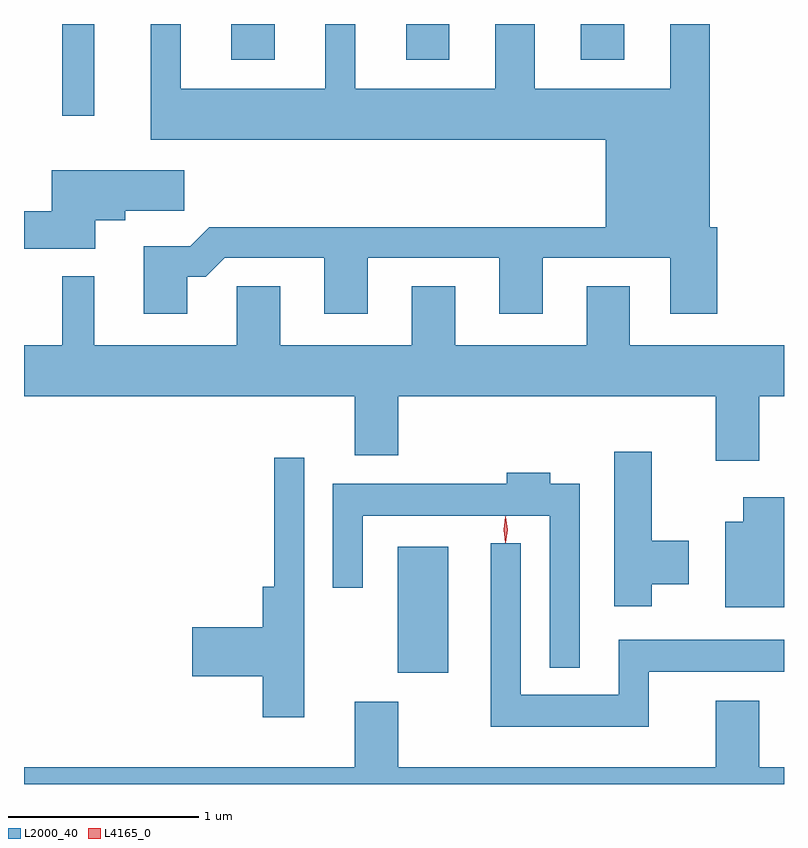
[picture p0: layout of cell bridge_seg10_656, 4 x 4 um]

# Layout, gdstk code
import gdstk
lib = gdstk.Library(unit=1e-6, precision=1e-09)
def R(c, l, rs):  # rectangles x0, y0, x1, y1
    for r in rs: c.add(gdstk.rectangle(r[:2], r[2:], *l))
def A(c, l, x, y, w, h, nx, ny, dx, dy):  # array of equal rectangles
    R(c, l, [(x+i*dx, y+j*dy, x+i*dx+w, y+j*dy+h) for i in range(nx) for j in range(ny)])
def P(c, l, *ps):  # polygons
    for p in ps: c.add(gdstk.Polygon(p, *l))
L2000_40 = (2000, 40)
L4165_0 = (4165, 0)

bridge_seg10_656 = lib.new_cell('bridge_seg10_656')
A(bridge_seg10_656, L2000_40, 900.001, 2144.546, 0.228, 0.189, 3, 1, 0.92, 0)
R(bridge_seg10_656, L2000_40, [(900.876,2141.321,901.144,2141.984), (899.111,2144.253,899.279,2144.735)])
P(bridge_seg10_656, L2000_40, [(899.769,2143.406),(899.867,2143.406),(899.967,2143.506),(900.491,2143.506),(900.491,2143.211),(900.719,2143.211),(900.719,2143.506),(901.411,2143.506),(901.411,2143.211),(901.639,2143.211),(901.639,2143.506),(902.311,2143.506),(902.311,2143.211),(902.559,2143.211),(902.559,2143.664),(902.519,2143.664),(902.519,2144.735),(902.311,2144.735),(902.311,2144.394),(901.599,2144.394),(901.599,2144.735),(901.391,2144.735),(901.391,2144.394),(900.654,2144.394),(900.654,2144.735),(900.496,2144.735),(900.496,2144.394),(899.734,2144.394),(899.734,2144.735),(899.576,2144.735),(899.576,2144.126),(901.971,2144.126),(901.971,2143.664),(899.884,2143.664),(899.784,2143.564),(899.541,2143.564),(899.541,2143.211),(899.769,2143.211)],
  [(899.284,2143.701),(899.444,2143.701),(899.444,2143.751),(899.754,2143.751),(899.754,2143.964),(899.056,2143.964),(899.056,2143.749),(898.91,2143.749),(898.91,2143.551),(899.284,2143.551)],
  [(902.779,2142.776),(902.91,2142.776),(902.91,2143.044),(902.099,2143.044),(902.099,2143.354),(901.871,2143.354),(901.871,2143.044),(901.179,2143.044),(901.179,2143.354),(900.951,2143.354),(900.951,2143.044),(900.259,2143.044),(900.259,2143.354),(900.031,2143.354),(900.031,2143.044),(899.279,2143.044),(899.279,2143.408),(899.111,2143.408),(899.111,2143.044),(898.91,2143.044),(898.91,2142.776),(900.651,2142.776),(900.651,2142.466),(900.879,2142.466),(900.879,2142.776),(902.551,2142.776),(902.551,2142.436),(902.779,2142.436)],
  [(902.214,2141.786),(902.409,2141.786),(902.409,2142.014),(902.214,2142.014),(902.214,2142.484),(902.016,2142.484),(902.016,2141.671),(902.214,2141.671)],
  [(900.384,2142.453),(900.226,2142.453),(900.226,2141.774),(900.166,2141.774),(900.166,2141.559),(899.796,2141.559),(899.796,2141.301),(900.166,2141.301),(900.166,2141.086),(900.384,2141.086)],
  [(901.834,2142.314),(901.679,2142.314),(901.679,2142.374),(901.451,2142.374),(901.451,2142.314),(900.536,2142.314),(900.536,2141.768),(900.694,2141.768),(900.694,2142.146),(901.676,2142.146),(901.676,2141.348),(901.834,2141.348)],
  [(902.91,2142.244),(902.696,2142.244),(902.696,2142.114),(902.601,2142.114),(902.601,2141.666),(902.91,2141.666)],
  [(902.199,2141.326),(902.91,2141.326),(902.91,2141.494),(902.041,2141.494),(902.041,2141.204),(901.524,2141.204),(901.524,2142.003),(901.366,2142.003),(901.366,2141.036),(902.199,2141.036)],
  [(902.91,2140.824),(902.779,2140.824),(902.779,2141.174),(902.551,2141.174),(902.551,2140.824),(900.879,2140.824),(900.879,2141.169),(900.651,2141.169),(900.651,2140.824),(898.91,2140.824),(898.91,2140.735),(902.91,2140.735)])
P(bridge_seg10_656, L4165_0, [(901.445,2142.007),(901.444,2142.008),(901.435,2142.074),(901.444,2142.14),(901.445,2142.14),(901.445,2142.14),(901.455,2142.074),(901.445,2142.008)],
  [(901.444,2142.004),(901.435,2142.073),(901.444,2142.142),(901.445,2142.143),(901.445,2142.142),(901.455,2142.073),(901.445,2142.004),(901.445,2142.004)])

lib.write_gds('bridge_seg10_656.gds')
